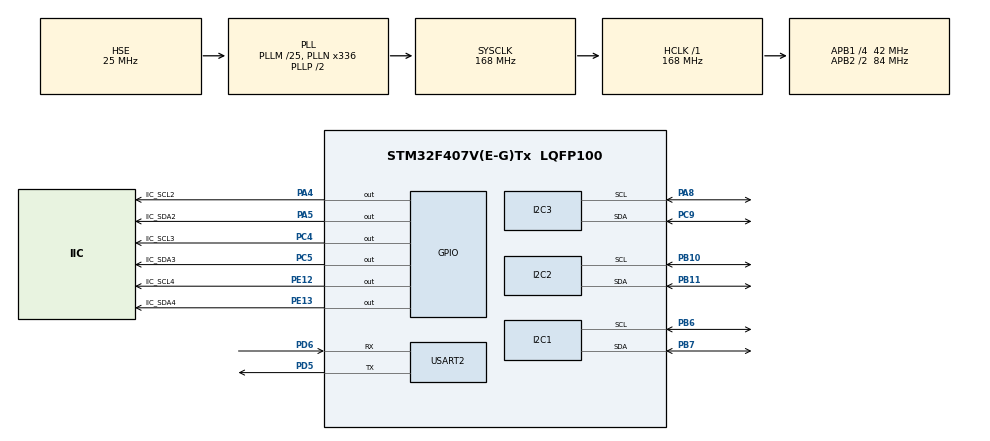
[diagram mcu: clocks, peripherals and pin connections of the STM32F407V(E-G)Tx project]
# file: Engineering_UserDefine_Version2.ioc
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Dma.Request0=USART2_TX
Dma.USART2_TX.0.Direction=DMA_MEMORY_TO_PERIPH
Dma.USART2_TX.0.FIFOMode=DMA_FIFOMODE_DISABLE
Dma.USART2_TX.0.Instance=DMA1_Stream6
Dma.USART2_TX.0.MemDataAlignment=DMA_MDATAALIGN_BYTE
Dma.USART2_TX.0.MemInc=DMA_MINC_ENABLE
Dma.USART2_TX.0.Mode=DMA_NORMAL
Dma.USART2_TX.0.PeriphDataAlignment=DMA_PDATAALIGN_BYTE
Dma.USART2_TX.0.PeriphInc=DMA_PINC_DISABLE
Dma.USART2_TX.0.Priority=DMA_PRIORITY_VERY_HIGH
FREERTOS.Tasks01=USART2_SendTask,2,2048,USART2_SendEntry,As weak,NULL,Dynamic,NULL,NULL;EncoderTask,2,2048,EncoderEntry,As weak,NULL,Dynamic,NULL,NULL;myTask03,1,128,StartTask03,As weak,NULL,Dynamic,NULL,NULL
FREERTOS.configENABLE_FPU=1
FREERTOS.configTOTAL_HEAP_SIZE=65535
I2C1.I2C_Mode=I2C_Fast
I2C2.I2C_Mode=I2C_Fast
I2C3.I2C_Mode=I2C_Fast
Mcu.Family=STM32F4
Mcu.Name=STM32F407V(E-G)Tx
Mcu.Package=LQFP100
NVIC.DMA1_Stream6_IRQn=true\:5\:0\:false\:false\:true\:true\:false\:true\:true
NVIC.PriorityGroup=NVIC_PRIORITYGROUP_4
NVIC.TIM4_IRQn=true\:15\:0\:false\:false\:true\:false\:false\:true\:true
NVIC.TimeBase=TIM4_IRQn
NVIC.TimeBaseIP=TIM4
NVIC.USART2_IRQn=true\:5\:0\:false\:false\:true\:true\:true\:true\:true
PA13.Mode=Serial_Wire
PA13.Signal=SYS_JTMS-SWDIO
PA14.Mode=Serial_Wire
PA14.Signal=SYS_JTCK-SWCLK
PA4.GPIO_Label=IIC_SCL2
PA4.GPIO_PuPd=GPIO_PULLUP
PA4.GPIO_Speed=GPIO_SPEED_FREQ_VERY_HIGH
PA4.PinState=GPIO_PIN_SET
PA4.Signal=GPIO_Output
PA5.GPIO_Label=IIC_SDA2
PA5.GPIO_PuPd=GPIO_PULLUP
PA5.GPIO_Speed=GPIO_SPEED_FREQ_VERY_HIGH
PA5.PinState=GPIO_PIN_SET
PA5.Signal=GPIO_Output
PA8.GPIO_Pu=GPIO_PULLUP
PA8.Mode=I2C
PA8.Signal=I2C3_SCL
PB10.GPIO_Pu=GPIO_PULLUP
PB10.Mode=I2C
PB10.Signal=I2C2_SCL
PB11.GPIO_Pu=GPIO_PULLUP
PB11.Mode=I2C
PB11.Signal=I2C2_SDA
PB6.GPIO_Pu=GPIO_PULLUP
PB6.Mode=I2C
PB6.Signal=I2C1_SCL
PB7.GPIO_Pu=GPIO_PULLUP
PB7.Mode=I2C
PB7.Signal=I2C1_SDA
PC4.GPIO_Label=IIC_SCL3
PC4.GPIO_ModeDefaultOutputPP=GPIO_MODE_OUTPUT_PP
PC4.GPIO_PuPd=GPIO_PULLUP
PC4.GPIO_Speed=GPIO_SPEED_FREQ_VERY_HIGH
PC4.PinState=GPIO_PIN_SET
PC4.Signal=GPIO_Output
PC5.GPIO_Label=IIC_SDA3
PC5.GPIO_ModeDefaultOutputPP=GPIO_MODE_OUTPUT_PP
PC5.GPIO_PuPd=GPIO_PULLUP
PC5.GPIO_Speed=GPIO_SPEED_FREQ_VERY_HIGH
PC5.PinState=GPIO_PIN_SET
PC5.Signal=GPIO_Output
PC9.GPIO_Pu=GPIO_PULLUP
PC9.Mode=I2C
PC9.Signal=I2C3_SDA
PD5.Mode=Asynchronous
PD5.Signal=USART2_TX
PD6.Mode=Asynchronous
PD6.Signal=USART2_RX
PE12.GPIO_Label=IIC_SCL4
PE12.GPIO_ModeDefaultOutputPP=GPIO_MODE_OUTPUT_PP
PE12.GPIO_PuPd=GPIO_PULLUP
PE12.GPIO_Speed=GPIO_SPEED_FREQ_VERY_HIGH
PE12.PinState=GPIO_PIN_SET
PE12.Signal=GPIO_Output
PE13.GPIO_Label=IIC_SDA4
PE13.GPIO_ModeDefaultOutputPP=GPIO_MODE_OUTPUT_PP
PE13.GPIO_PuPd=GPIO_PULLUP
PE13.GPIO_Speed=GPIO_SPEED_FREQ_VERY_HIGH
PE13.PinState=GPIO_PIN_SET
PE13.Signal=GPIO_Output
PH0-OSC_IN.Mode=HSE-External-Oscillator
PH0-OSC_IN.Signal=RCC_OSC_IN
PH1-OSC_OUT.Mode=HSE-External-Oscillator
PH1-OSC_OUT.Signal=RCC_OSC_OUT
ProjectManager.HeapSize=0x400
ProjectManager.StackSize=0x1000
ProjectManager.TargetToolchain=STM32CubeIDE
RCC.48MHZClocksFreq_Value=84000000
RCC.AHBFreq_Value=168000000
RCC.APB1CLKDivider=RCC_HCLK_DIV4
RCC.APB1Freq_Value=42000000
RCC.APB1TimFreq_Value=84000000
RCC.APB2CLKDivider=RCC_HCLK_DIV2
RCC.APB2Freq_Value=84000000
RCC.APB2TimFreq_Value=168000000
RCC.CortexFreq_Value=168000000
RCC.HCLKFreq_Value=168000000
RCC.HSE_VALUE=25000000
RCC.HSI_VALUE=16000000
RCC.LSE_VALUE=32768
RCC.PLLM=25
RCC.PLLN=336
RCC.PLLSourceVirtual=RCC_PLLSOURCE_HSE
RCC.SYSCLKFreq_VALUE=168000000
RCC.SYSCLKSource=RCC_SYSCLKSOURCE_PLLCLK
RCC.VCOOutputFreq_Value=336000000
STMicroelectronics.X-CUBE-ALGOBUILD.1.4.0.LibraryCcDSPOoLibraryJjDSPOoLibrary=true
TIM2.Period=0xffffffff
TIM2.Prescaler=84-1
USART2.VirtualMode=VM_ASYNC
VP_FREERTOS_VS_CMSIS_V1.Mode=CMSIS_V1
VP_STMicroelectronics.X-CUBE-ALGOBUILD_VS_DSPOoLibraryJjLibrary_1.4.0_1.4.0.Mode=DSPOoLibraryJjLibrary
VP_SYS_VS_tim4.Mode=TIM4
VP_TIM2_VS_ClockSourceINT.Mode=Internal
board=custom

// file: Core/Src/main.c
/* USER CODE BEGIN Header */
/**
  ******************************************************************************
  * @file           : main.c
  * @brief          : Main program body
  ******************************************************************************
  * @attention
  *
  * Copyright (c) 2025 STMicroelectronics.
  * All rights reserved.
  *
  * This software is licensed under terms that can be found in the LICENSE file
  * in the root directory of this software component.
  * If no LICENSE file comes with this software, it is provided AS-IS.
  *
  ******************************************************************************
  */
/* USER CODE END Header */
#include "main.h"
#include "cmsis_os.h"
#include "dma.h"
#include "i2c.h"
#include "tim.h"
#include "usart.h"
#include "gpio.h"

/* USER CODE BEGIN Includes */
QueueHandle_t xQueue = NULL; // ���о��
/* USER CODE END Includes */

/* USER CODE BEGIN PD */
#define QUEUE_LENGTH 5    // ���г��ȣ��ɸ�����Ҫ����
#define QUEUE_ITEM_SIZE sizeof(float)*6 // ÿ������Ԫ��ռ�õ��ֽ���
/* USER CODE END PD */

void SystemClock_Config(void);
void MX_FREERTOS_Init(void);

/* USER CODE BEGIN 0 */

void delayUs(uint32_t us) {
    taskENTER_CRITICAL();
    uint32_t start = TIM2->CNT;
    uint32_t elapsed;
    do {
        uint32_t current = TIM2->CNT;
        elapsed = (current >= start) ? (current - start) : (0xFFFFFFFF - start + current);
    } while (elapsed < us);
    taskEXIT_CRITICAL();
}

void delay_us_safe(uint32_t us) {
    taskENTER_CRITICAL();
    uint32_t start = TIM2->CNT;
    while ((TIM2->CNT - start) < us);
    taskEXIT_CRITICAL();
}

/* USER CODE END 0 */

int main(void)
{

  /* MCU Configuration--------------------------------------------------------*/

  /* Reset of all peripherals, Initializes the Flash interface and the Systick. */
  HAL_Init();

  /* Configure the system clock */
  SystemClock_Config();

  /* Initialize all configured peripherals */
  MX_GPIO_Init();
  MX_DMA_Init();
  MX_USART2_UART_Init();
  MX_I2C1_Init();
  MX_I2C2_Init();
  MX_I2C3_Init();
  MX_TIM2_Init();
  /* USER CODE BEGIN 2 */
    // ��������
    xQueue = xQueueCreate(QUEUE_LENGTH, QUEUE_ITEM_SIZE);
    if (xQueue == NULL) {
        // ���д���ʧ�ܣ����������
        Error_Handler();
    }
  /* USER CODE END 2 */

  /* Call init function for freertos objects (in cmsis_os2.c) */
  MX_FREERTOS_Init();

  /* Start scheduler */
  osKernelStart();

  /* We should never get here as control is now taken by the scheduler */

  /* Infinite loop */
  while (1)
  {

  }
}

void SystemClock_Config(void)
{
  RCC_OscInitTypeDef RCC_OscInitStruct = {0};
  RCC_ClkInitTypeDef RCC_ClkInitStruct = {0};

  /** Configure the main internal regulator output voltage
  */
  __HAL_RCC_PWR_CLK_ENABLE();
  __HAL_PWR_VOLTAGESCALING_CONFIG(PWR_REGULATOR_VOLTAGE_SCALE1);

  /** Initializes the RCC Oscillators according to the specified parameters
  * in the RCC_OscInitTypeDef structure.
  */
  RCC_OscInitStruct.OscillatorType = RCC_OSCILLATORTYPE_HSE;
  RCC_OscInitStruct.HSEState = RCC_HSE_ON;
  RCC_OscInitStruct.PLL.PLLState = RCC_PLL_ON;
  RCC_OscInitStruct.PLL.PLLSource = RCC_PLLSOURCE_HSE;
  RCC_OscInitStruct.PLL.PLLM = 25;
  RCC_OscInitStruct.PLL.PLLN = 336;
  RCC_OscInitStruct.PLL.PLLP = RCC_PLLP_DIV2;
  RCC_OscInitStruct.PLL.PLLQ = 4;
  if (HAL_RCC_OscConfig(&RCC_OscInitStruct) != HAL_OK)
  {
    Error_Handler();
  }

  /** Initializes the CPU, AHB and APB buses clocks
  */
  RCC_ClkInitStruct.ClockType = RCC_CLOCKTYPE_HCLK|RCC_CLOCKTYPE_SYSCLK
                              |RCC_CLOCKTYPE_PCLK1|RCC_CLOCKTYPE_PCLK2;
  RCC_ClkInitStruct.SYSCLKSource = RCC_SYSCLKSOURCE_PLLCLK;
  RCC_ClkInitStruct.AHBCLKDivider = RCC_SYSCLK_DIV1;
  RCC_ClkInitStruct.APB1CLKDivider = RCC_HCLK_DIV4;
  RCC_ClkInitStruct.APB2CLKDivider = RCC_HCLK_DIV2;

  if (HAL_RCC_ClockConfig(&RCC_ClkInitStruct, FLASH_LATENCY_5) != HAL_OK)
  {
    Error_Handler();
  }
}

void HAL_TIM_PeriodElapsedCallback(TIM_HandleTypeDef *htim)
{
  if (htim->Instance == TIM4)
  {
    HAL_IncTick();
  }
}

void Error_Handler(void)
{
  __disable_irq();
  while (1)
  {
  }
}

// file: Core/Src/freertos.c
/* USER CODE BEGIN Header */
/**
  ******************************************************************************
  * File Name          : freertos.c
  * Description        : Code for freertos applications
  ******************************************************************************
  * @attention
  *
  * Copyright (c) 2025 STMicroelectronics.
  * All rights reserved.
  *
  * This software is licensed under terms that can be found in the LICENSE file
  * in the root directory of this software component.
  * If no LICENSE file comes with this software, it is provided AS-IS.
  *
  ******************************************************************************
  */
/* USER CODE END Header */

#include "FreeRTOS.h"
#include "task.h"
#include "main.h"
#include "cmsis_os.h"

osThreadId USART2_SendTaskHandle;
osThreadId EncoderTaskHandle;
osThreadId myTask03Handle;

void USART2_SendEntry(void const * argument);
void EncoderEntry(void const * argument);
void StartTask03(void const * argument);

void MX_FREERTOS_Init(void); /* (MISRA C 2004 rule 8.1) */

/* GetIdleTaskMemory prototype (linked to static allocation support) */
void vApplicationGetIdleTaskMemory( StaticTask_t **ppxIdleTaskTCBBuffer, StackType_t **ppxIdleTaskStackBuffer, uint32_t *pulIdleTaskStackSize );

/* USER CODE BEGIN GET_IDLE_TASK_MEMORY */
static StaticTask_t xIdleTaskTCBBuffer;
static StackType_t xIdleStack[configMINIMAL_STACK_SIZE];

void vApplicationGetIdleTaskMemory( StaticTask_t **ppxIdleTaskTCBBuffer, StackType_t **ppxIdleTaskStackBuffer, uint32_t *pulIdleTaskStackSize )
{
  *ppxIdleTaskTCBBuffer = &xIdleTaskTCBBuffer;
  *ppxIdleTaskStackBuffer = &xIdleStack[0];
  *pulIdleTaskStackSize = configMINIMAL_STACK_SIZE;
  /* place for user code */
}
/* USER CODE END GET_IDLE_TASK_MEMORY */

void MX_FREERTOS_Init(void) {

  /* Create the thread(s) */
  /* definition and creation of USART2_SendTask */
  osThreadDef(USART2_SendTask, USART2_SendEntry, osPriorityHigh, 0, 2048);
  USART2_SendTaskHandle = osThreadCreate(osThread(USART2_SendTask), NULL);

  /* definition and creation of EncoderTask */
  osThreadDef(EncoderTask, EncoderEntry, osPriorityHigh, 0, 2048);
  EncoderTaskHandle = osThreadCreate(osThread(EncoderTask), NULL);

  /* definition and creation of myTask03 */
  osThreadDef(myTask03, StartTask03, osPriorityAboveNormal, 0, 128);
  myTask03Handle = osThreadCreate(osThread(myTask03), NULL);

}

__weak void USART2_SendEntry(void const * argument)
{
  for(;;)
  {
    osDelay(1);
  }
}

__weak void EncoderEntry(void const * argument)
{
  for(;;)
  {
    osDelay(1);
  }
}

__weak void StartTask03(void const * argument)
{
  for(;;)
  {
    osDelay(1);
  }
}
